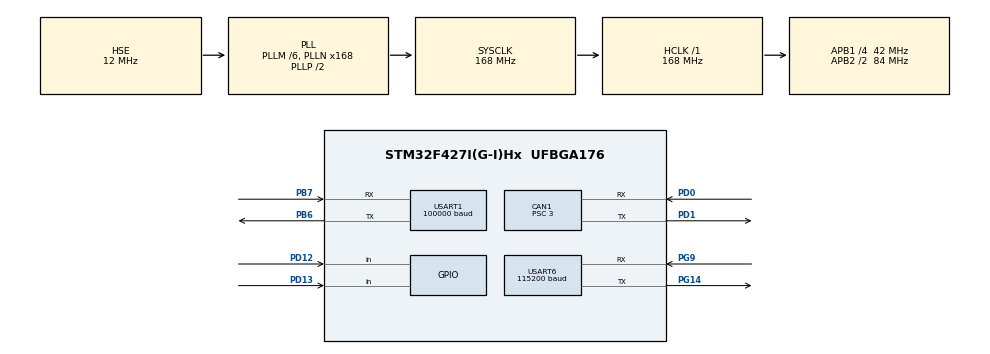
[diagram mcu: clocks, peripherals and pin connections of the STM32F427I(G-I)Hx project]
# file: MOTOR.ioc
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CAN1.BS1=CAN_BS1_10TQ
CAN1.BS2=CAN_BS2_3TQ
CAN1.CalculateTimeQuantum=71.42857142857143
CAN1.Prescaler=3
Dma.Request0=USART1_RX
Dma.Request1=USART6_RX
Dma.USART1_RX.0.Direction=DMA_PERIPH_TO_MEMORY
Dma.USART1_RX.0.FIFOMode=DMA_FIFOMODE_DISABLE
Dma.USART1_RX.0.Instance=DMA2_Stream2
Dma.USART1_RX.0.MemDataAlignment=DMA_MDATAALIGN_BYTE
Dma.USART1_RX.0.MemInc=DMA_MINC_ENABLE
Dma.USART1_RX.0.Mode=DMA_NORMAL
Dma.USART1_RX.0.PeriphDataAlignment=DMA_PDATAALIGN_BYTE
Dma.USART1_RX.0.PeriphInc=DMA_PINC_DISABLE
Dma.USART1_RX.0.Priority=DMA_PRIORITY_VERY_HIGH
Dma.USART6_RX.1.Direction=DMA_PERIPH_TO_MEMORY
Dma.USART6_RX.1.FIFOMode=DMA_FIFOMODE_DISABLE
Dma.USART6_RX.1.Instance=DMA2_Stream1
Dma.USART6_RX.1.MemDataAlignment=DMA_MDATAALIGN_BYTE
Dma.USART6_RX.1.MemInc=DMA_MINC_ENABLE
Dma.USART6_RX.1.Mode=DMA_NORMAL
Dma.USART6_RX.1.PeriphDataAlignment=DMA_PDATAALIGN_BYTE
Dma.USART6_RX.1.PeriphInc=DMA_PINC_DISABLE
Dma.USART6_RX.1.Priority=DMA_PRIORITY_VERY_HIGH
Mcu.Family=STM32F4
Mcu.Name=STM32F427I(G-I)Hx
Mcu.Package=UFBGA176
NVIC.CAN1_RX0_IRQn=true\:1\:1\:true\:false\:true\:true\:true
NVIC.CAN1_TX_IRQn=true\:1\:0\:true\:false\:true\:true\:true
NVIC.DMA2_Stream1_IRQn=true\:0\:0\:false\:false\:true\:false\:true
NVIC.DMA2_Stream2_IRQn=true\:0\:0\:false\:false\:true\:false\:true
NVIC.PriorityGroup=NVIC_PRIORITYGROUP_2
NVIC.TIM1_UP_TIM10_IRQn=true\:0\:0\:true\:false\:true\:true\:true
NVIC.USART1_IRQn=true\:0\:0\:false\:false\:true\:true\:true
NVIC.USART6_IRQn=true\:0\:0\:false\:false\:true\:true\:true
PA13.Mode=Serial_Wire
PA13.Signal=SYS_JTMS-SWDIO
PA14.Mode=Serial_Wire
PA14.Signal=SYS_JTCK-SWCLK
PB6.Mode=Asynchronous
PB6.Signal=USART1_TX
PB7.Mode=Asynchronous
PB7.Signal=USART1_RX
PD0.Mode=Master
PD0.Signal=CAN1_RX
PD1.Mode=Master
PD1.Signal=CAN1_TX
PD12.GPIO_Mode=GPIO_MODE_INPUT
PD12.GPIO_PuPd=GPIO_NOPULL
PD12.Signal=GPIO_Input
PD13.GPIO_Mode=GPIO_MODE_INPUT
PD13.GPIO_PuPd=GPIO_NOPULL
PD13.Signal=GPIO_Input
PG14.Mode=Asynchronous
PG14.Signal=USART6_TX
PG9.Mode=Asynchronous
PG9.Signal=USART6_RX
PH0/OSC_IN.Mode=HSE-External-Oscillator
PH0/OSC_IN.Signal=RCC_OSC_IN
PH1/OSC_OUT.Mode=HSE-External-Oscillator
PH1/OSC_OUT.Signal=RCC_OSC_OUT
ProjectManager.HeapSize=0x200
ProjectManager.StackSize=0x400
ProjectManager.TargetToolchain=MDK-ARM V5
RCC.48MHZClocksFreq_Value=84000000
RCC.AHBFreq_Value=168000000
RCC.APB1CLKDivider=RCC_HCLK_DIV4
RCC.APB1Freq_Value=42000000
RCC.APB1TimFreq_Value=84000000
RCC.APB2CLKDivider=RCC_HCLK_DIV2
RCC.APB2Freq_Value=84000000
RCC.APB2TimFreq_Value=168000000
RCC.CortexFreq_Value=168000000
RCC.HCLKFreq_Value=168000000
RCC.HSE_VALUE=12000000
RCC.HSI_VALUE=16000000
RCC.LSE_VALUE=32768
RCC.PLLM=6
RCC.PLLN=168
RCC.PLLSourceVirtual=RCC_PLLSOURCE_HSE
RCC.SYSCLKFreq_VALUE=168000000
RCC.SYSCLKSource=RCC_SYSCLKSOURCE_PLLCLK
RCC.VCOOutputFreq_Value=336000000
TIM1.Period=50-1
TIM1.Prescaler=16800-1
USART1.BaudRate=100000
USART1.VirtualMode=VM_ASYNC
USART6.BaudRate=115200
USART6.VirtualMode=VM_ASYNC
VP_TIM1_VS_ClockSourceINT.Mode=Internal
board=custom

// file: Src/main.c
/* USER CODE BEGIN Header */
/**
  ******************************************************************************
  * @file           : main.c
  * @brief          : Main program body
  ******************************************************************************
  * @attention
  *
  * <h2><center>&copy; Copyright (c) 2021 STMicroelectronics.
  * All rights reserved.</center></h2>
  *
  * This software component is licensed by ST under BSD 3-Clause license,
  * the "License"; You may not use this file except in compliance with the
  * License. You may obtain a copy of the License at:
  *                        opensource.org/licenses/BSD-3-Clause
  *
  ******************************************************************************
  */
/* USER CODE END Header */

#include "main.h"
#include "can.h"
#include "dma.h"
#include "tim.h"
#include "usart.h"
#include "gpio.h"

/* USER CODE BEGIN Includes */
#include "bsp_can.h"
//#include "CAN_receive.h"
#include "pid.h"
#include "bsp_usart.h"
#include "usartinfo.h"
#include "Remote_Control.h"
#include "Classic.h"
#include "string.h"
#include "stm32f4xx_it.h"
#include "core_cm4.h"
#include "judge.h"
#include "crc.h"

/* USER CODE END Includes */

/* USER CODE BEGIN PTD */
extern uint8_t Judgement_Buf[JUDGEMENT_BUF_LEN];
//extern motor_measure_t motor_chassis[];
/* USER CODE END PTD */

void SystemClock_Config(void);

int main(void)
{

  /* MCU Configuration--------------------------------------------------------*/

  /* Reset of all peripherals, Initializes the Flash interface and the Systick. */
  HAL_Init();

  /* Configure the system clock */
  SystemClock_Config();

  /* Initialize all configured peripherals */
  MX_GPIO_Init();
  MX_DMA_Init();
  MX_CAN1_Init();
  MX_TIM1_Init();
  MX_USART1_UART_Init();
  MX_USART6_UART_Init();
  /* USER CODE BEGIN 2 */
  //srand(0x01);
	Bsp_UART_Receive_IT(&huart1,UART_Buffer,36);
	Bsp_UART_Receive_IT(&huart6,Judgement_Buf,JUDGEMENT_BUF_LEN);
	HAL_TIM_Base_Start_IT(&htim1);
  can_filter_init();
	Classic_init();
	Speed_change_time=(rand()%300)+300;
	//HAL_GPIO_WritePin(GPIOD,GPIO_PIN_13,GPIO_PIN_SET);
	//HAL_GPIO_WritePin(GPIOD,GPIO_PIN_12,GPIO_PIN_SET);
	//PID_init(&pid,PID_POSITION,(const fp32*)&PID,30000,30000);
  /* USER CODE END 2 */

  /* Infinite loop */
  while (1)
  {

    /* USER CODE BEGIN 3 */
		 //PID_calc(&pid,motor_chassis[5].speed_rpm,60);
		 //CAN_cmd_chassis(0,pid.out, 0, 0);
     //HAL_Delay(2);
  }
  /* USER CODE END 3 */
}

void SystemClock_Config(void)
{
  RCC_OscInitTypeDef RCC_OscInitStruct = {0};
  RCC_ClkInitTypeDef RCC_ClkInitStruct = {0};

  /** Configure the main internal regulator output voltage
  */
  __HAL_RCC_PWR_CLK_ENABLE();
  __HAL_PWR_VOLTAGESCALING_CONFIG(PWR_REGULATOR_VOLTAGE_SCALE1);
  /** Initializes the CPU, AHB and APB busses clocks
  */
  RCC_OscInitStruct.OscillatorType = RCC_OSCILLATORTYPE_HSE;
  RCC_OscInitStruct.HSEState = RCC_HSE_ON;
  RCC_OscInitStruct.PLL.PLLState = RCC_PLL_ON;
  RCC_OscInitStruct.PLL.PLLSource = RCC_PLLSOURCE_HSE;
  RCC_OscInitStruct.PLL.PLLM = 6;
  RCC_OscInitStruct.PLL.PLLN = 168;
  RCC_OscInitStruct.PLL.PLLP = RCC_PLLP_DIV2;
  RCC_OscInitStruct.PLL.PLLQ = 4;
  if (HAL_RCC_OscConfig(&RCC_OscInitStruct) != HAL_OK)
  {
    Error_Handler();
  }
  /** Initializes the CPU, AHB and APB busses clocks
  */
  RCC_ClkInitStruct.ClockType = RCC_CLOCKTYPE_HCLK|RCC_CLOCKTYPE_SYSCLK
                              |RCC_CLOCKTYPE_PCLK1|RCC_CLOCKTYPE_PCLK2;
  RCC_ClkInitStruct.SYSCLKSource = RCC_SYSCLKSOURCE_PLLCLK;
  RCC_ClkInitStruct.AHBCLKDivider = RCC_SYSCLK_DIV1;
  RCC_ClkInitStruct.APB1CLKDivider = RCC_HCLK_DIV4;
  RCC_ClkInitStruct.APB2CLKDivider = RCC_HCLK_DIV2;

  if (HAL_RCC_ClockConfig(&RCC_ClkInitStruct, FLASH_LATENCY_5) != HAL_OK)
  {
    Error_Handler();
  }
}

void Error_Handler(void)
{
}

/************************ (C) COPYRIGHT STMicroelectronics *****END OF FILE****/
